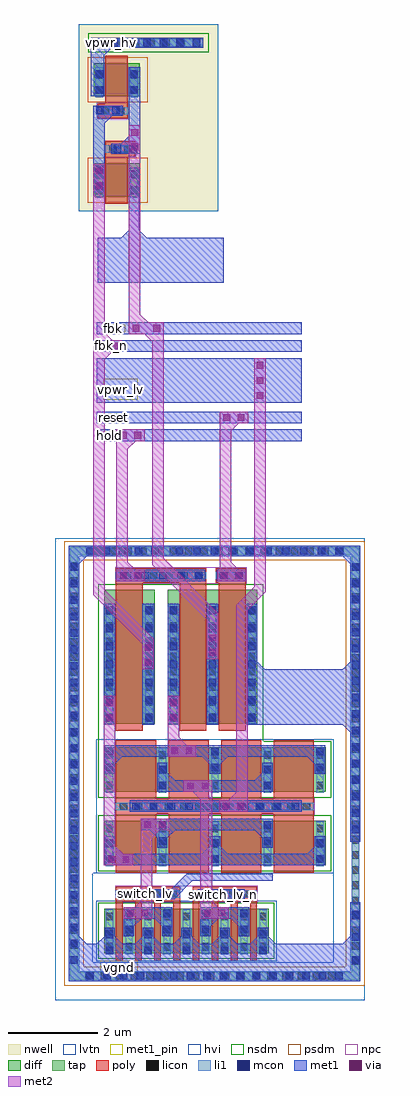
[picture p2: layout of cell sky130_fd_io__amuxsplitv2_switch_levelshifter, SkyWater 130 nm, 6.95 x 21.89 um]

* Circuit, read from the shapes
.subckt sky130_fd_io__amuxsplitv2_switch_levelshifter fbk fbk_n hold reset switch_lv switch_lv_n vgnd vpwr_hv vpwr_lv
XM1 n1 switch_lv vgnd vgnd sky130_fd_pr__nfet_01v8_lvt w=1 l=0.15 m=4
XM2 n1 vpwr_lv n2 vgnd sky130_fd_pr__nfet_05v0_nvt w=1 l=0.9 m=4
XM3 n3 vpwr_lv n4 vgnd sky130_fd_pr__nfet_05v0_nvt w=1 l=0.9 m=4
XM4 fbk_n hold n2 vgnd sky130_fd_pr__nfet_05v0_nvt w=3 l=0.6
XM5 fbk hold n4 vgnd sky130_fd_pr__nfet_05v0_nvt w=3 l=0.6
XM6 n3 switch_lv_n vgnd vgnd sky130_fd_pr__nfet_01v8_lvt w=1 l=0.15 m=4
XM7 vgnd reset fbk vgnd sky130_fd_pr__nfet_05v0_nvt w=3 l=0.6
XM8 n5 fbk fbk_n vpwr_hv sky130_fd_pr__pfet_g5v0d10v5 w=0.75 l=0.5
XM9 fbk fbk_n vpwr_hv vpwr_hv sky130_fd_pr__pfet_g5v0d10v5 w=0.75 l=0.5
.ends

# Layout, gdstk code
from math import pi, radians
import gdstk
lib = gdstk.Library(unit=1e-6, precision=1e-09)
def R(c, l, rs):  # rectangles x0, y0, x1, y1
    for r in rs: c.add(gdstk.rectangle(r[:2], r[2:], *l))
def A(c, l, x, y, w, h, nx, ny, dx, dy):  # array of equal rectangles
    R(c, l, [(x+i*dx, y+j*dy, x+i*dx+w, y+j*dy+h) for i in range(nx) for j in range(ny)])
def P(c, l, *ps):  # polygons
    for p in ps: c.add(gdstk.Polygon(p, *l))
nwell = (64, 20)
diff = (65, 20)
tap = (65, 44)
poly = (66, 20)
licon = (66, 44)
li1 = (67, 20)
mcon = (67, 44)
met1_pin = (68, 16)
met1 = (68, 20)
via = (68, 44)
met2 = (69, 20)
hvi = (75, 20)
nsdm = (93, 44)
psdm = (94, 20)
npc = (95, 20)
lvtn = (125, 44)

dfl1sd_cdns_559591418081 = lib.new_cell('DFL1sd_CDNS_5595914180819')
R(dfl1sd_cdns_559591418081, diff, [(0,0,0.265,3)])
A(dfl1sd_cdns_559591418081, licon, 0.055, 0.06, 0.17, 0.17, 1, 8, 0, 0.34)
R(dfl1sd_cdns_559591418081, li1, [(0.055,-0.02,0.225,2.69)])
R(dfl1sd_cdns_559591418081, nsdm, [(-0.13,-0.13,0.395,3.13)])

nfet_cdns_5595914180818 = lib.new_cell('nfet_CDNS_5595914180818')
R(nfet_cdns_5595914180818, diff, [(-0.25,0,0,3), (0,0,0.6,3), (0.6,0,0.85,3)])
R(nfet_cdns_5595914180818, poly, [(0,-0.16,0.6,3.16), (0,-0.16,0.6,0), (0,3,0.6,3.16)])
R(nfet_cdns_5595914180818, li1, [(-0.225,-0.02,-0.055,2.69), (0.655,-0.02,0.825,2.69)])
R(nfet_cdns_5595914180818, hvi, [(-0.445,-0.18,1.045,3.18)])
R(nfet_cdns_5595914180818, nsdm, [(-0.25,-0.13,0.85,3.13)])
nfet_cdns_5595914180818.add(gdstk.Reference(dfl1sd_cdns_559591418081, (0.6,0)))
nfet_cdns_5595914180818.add(gdstk.Reference(dfl1sd_cdns_559591418081, (0,0), rotation=pi, x_reflection=True))
nfet_cdns_5595914180818.add(gdstk.Label('D', (0.74,1.335), layer=83, texttype=44))
nfet_cdns_5595914180818.add(gdstk.Label('S', (-0.14,1.335), layer=83, texttype=44))

c_dfl1sd_cdns_559591418081 = lib.new_cell('DFL1sd_CDNS_5595914180815')
R(c_dfl1sd_cdns_559591418081, diff, [(0,0,0.265,1)])
A(c_dfl1sd_cdns_559591418081, licon, 0.055, 0.06, 0.17, 0.17, 1, 3, 0, 0.34)
R(c_dfl1sd_cdns_559591418081, li1, [(0.055,-0.02,0.225,0.99)])
R(c_dfl1sd_cdns_559591418081, nsdm, [(-0.13,-0.13,0.395,1.13)])

dfl1sd2_cdns_55959141808 = lib.new_cell('DFL1sd2_CDNS_5595914180816')
R(dfl1sd2_cdns_55959141808, diff, [(0,0,0.28,1)])
A(dfl1sd2_cdns_55959141808, licon, 0.055, 0.06, 0.17, 0.17, 1, 3, 0, 0.34)
R(dfl1sd2_cdns_55959141808, li1, [(0.055,-0.02,0.225,0.99)])
R(dfl1sd2_cdns_55959141808, nsdm, [(-0.13,-0.13,0.41,1.13)])

nfet_cdns_5595914180820 = lib.new_cell('nfet_CDNS_5595914180820')
A(nfet_cdns_5595914180820, diff, 0, 0, 0.9, 1, 4, 1, 1.18, 0)
R(nfet_cdns_5595914180820, diff, [(-0.25,0,0,1), (4.44,0,4.69,1)])
A(nfet_cdns_5595914180820, poly, 0, -0.16, 0.9, 1.32, 4, 1, 1.18, 0)
A(nfet_cdns_5595914180820, poly, 0, -0.16, 0.9, 0.16, 4, 2, 1.18, 1.16)
A(nfet_cdns_5595914180820, li1, -0.225, -0.02, 0.17, 1.01, 5, 1, 1.18, 0)
R(nfet_cdns_5595914180820, hvi, [(-0.445,-0.18,4.885,1.18)])
A(nfet_cdns_5595914180820, nsdm, -0.25, -0.13, 1.15, 1.26, 3, 1, 1.18, 0)
R(nfet_cdns_5595914180820, nsdm, [(3.29,-0.13,4.69,1.13)])
R(nfet_cdns_5595914180820, lvtn, [(-0.445,-0.18,4.885,1.18)])
nfet_cdns_5595914180820.add(gdstk.Reference(c_dfl1sd_cdns_559591418081, (4.44,0)))
nfet_cdns_5595914180820.add(gdstk.Reference(c_dfl1sd_cdns_559591418081, (0,0), rotation=pi, x_reflection=True))
nfet_cdns_5595914180820.add(gdstk.Reference(dfl1sd2_cdns_55959141808, (3.26,0)))
nfet_cdns_5595914180820.add(gdstk.Reference(dfl1sd2_cdns_55959141808, (2.08,0)))
nfet_cdns_5595914180820.add(gdstk.Reference(dfl1sd2_cdns_55959141808, (0.9,0)))
nfet_cdns_5595914180820.add(gdstk.Label('S', (4.58,0.485), layer=83, texttype=44))
nfet_cdns_5595914180820.add(gdstk.Label('D', (3.4,0.485), layer=83, texttype=44))
nfet_cdns_5595914180820.add(gdstk.Label('S', (2.22,0.485), layer=83, texttype=44))
nfet_cdns_5595914180820.add(gdstk.Label('D', (1.04,0.485), layer=83, texttype=44))
nfet_cdns_5595914180820.add(gdstk.Label('S', (-0.14,0.485), layer=83, texttype=44))

nfet_cdns_5595914180821 = lib.new_cell('nfet_CDNS_5595914180821')
A(nfet_cdns_5595914180821, diff, 0, 0, 0.15, 1, 4, 1, 0.43, 0)
R(nfet_cdns_5595914180821, diff, [(-0.25,0,0,1), (1.44,0,1.69,1)])
A(nfet_cdns_5595914180821, poly, 0, -0.16, 0.15, 1.32, 4, 1, 0.43, 0)
A(nfet_cdns_5595914180821, poly, 0, -0.16, 0.15, 0.16, 4, 2, 0.43, 1.16)
A(nfet_cdns_5595914180821, li1, -0.225, -0.02, 0.17, 1.01, 5, 1, 0.43, 0)
A(nfet_cdns_5595914180821, nsdm, -0.25, -0.13, 0.4, 1.26, 3, 1, 0.43, 0)
R(nfet_cdns_5595914180821, nsdm, [(1.04,-0.13,1.69,1.13)])
R(nfet_cdns_5595914180821, lvtn, [(-0.445,-0.18,1.885,1.18)])
nfet_cdns_5595914180821.add(gdstk.Reference(c_dfl1sd_cdns_559591418081, (1.44,0)))
nfet_cdns_5595914180821.add(gdstk.Reference(c_dfl1sd_cdns_559591418081, (0,0), rotation=pi, x_reflection=True))
nfet_cdns_5595914180821.add(gdstk.Reference(dfl1sd2_cdns_55959141808, (1.01,0)))
nfet_cdns_5595914180821.add(gdstk.Reference(dfl1sd2_cdns_55959141808, (0.58,0)))
nfet_cdns_5595914180821.add(gdstk.Reference(dfl1sd2_cdns_55959141808, (0.15,0)))
nfet_cdns_5595914180821.add(gdstk.Label('S', (1.58,0.485), layer=83, texttype=44))
nfet_cdns_5595914180821.add(gdstk.Label('D', (1.15,0.485), layer=83, texttype=44))
nfet_cdns_5595914180821.add(gdstk.Label('S', (0.72,0.485), layer=83, texttype=44))
nfet_cdns_5595914180821.add(gdstk.Label('D', (0.29,0.485), layer=83, texttype=44))
nfet_cdns_5595914180821.add(gdstk.Label('S', (-0.14,0.485), layer=83, texttype=44))

dfl1sd_cdns_559591418082 = lib.new_cell('DFL1sd_CDNS_5595914180823')
R(dfl1sd_cdns_559591418082, nwell, [(-0.18,-0.18,0.445,0.93)])
R(dfl1sd_cdns_559591418082, diff, [(0,0,0.265,0.75)])
R(dfl1sd_cdns_559591418082, licon, [(0.055,0.06,0.225,0.23), (0.055,0.4,0.225,0.57)])
R(dfl1sd_cdns_559591418082, li1, [(0.055,-0.02,0.225,0.65)])
R(dfl1sd_cdns_559591418082, psdm, [(-0.13,-0.13,0.395,0.88)])

pfet_cdns_5595914180822 = lib.new_cell('pfet_CDNS_5595914180822')
R(pfet_cdns_5595914180822, nwell, [(-0.595,-0.33,1.095,1.08), (-0.445,-0.18,0.945,0.93)])
R(pfet_cdns_5595914180822, diff, [(-0.25,0,0,0.75), (0,0,0.5,0.75), (0.5,0,0.75,0.75)])
R(pfet_cdns_5595914180822, poly, [(0,-0.16,0.5,0.91), (0,-0.16,0.5,0), (0,0.75,0.5,0.91)])
R(pfet_cdns_5595914180822, li1, [(-0.225,-0.02,-0.055,0.65), (0.555,-0.02,0.725,0.65)])
R(pfet_cdns_5595914180822, hvi, [(-0.595,-0.33,1.095,1.08)])
R(pfet_cdns_5595914180822, psdm, [(-0.25,-0.13,0.75,0.88)])
pfet_cdns_5595914180822.add(gdstk.Reference(dfl1sd_cdns_559591418082, (0.5,0)))
pfet_cdns_5595914180822.add(gdstk.Reference(dfl1sd_cdns_559591418082, (0,0), rotation=pi, x_reflection=True))
pfet_cdns_5595914180822.add(gdstk.Label('D', (0.64,0.315), layer=83, texttype=44))
pfet_cdns_5595914180822.add(gdstk.Label('S', (-0.14,0.315), layer=83, texttype=44))

sky130_fd_io__amuxsplitv = lib.new_cell('sky130_fd_io__amuxsplitv2_switch_levelshifter')
R(sky130_fd_io__amuxsplitv, nwell, [(0.185,17.44,3.305,21.645), (0.185,20.805,3.305,21.645)])
R(sky130_fd_io__amuxsplitv, tap, [(0.52,21.14,2.97,21.31)])
P(sky130_fd_io__amuxsplitv, tap, [(-0.01,0.5),(-0.01,0.2),(6.47,0.2),(6.47,9.91),(-0.01,9.91),(-0.01,0.5),(0.16,0.5),(0.16,9.74),(6.3,9.74),(6.3,0.37),(0.16,0.37),(0.16,0.5)])
R(sky130_fd_io__amuxsplitv, poly, [(1.015,1.96,2.455,2.29), (2.735,1.96,4.175,2.29), (1.015,3.93,5.455,4.26), (1.015,9.11,3.045,9.44), (3.255,9.11,3.925,9.44), (0.78,18.68,1.45,19.01), (0.61,19.53,1.28,19.86)])
A(sky130_fd_io__amuxsplitv, licon, 0.33, 0.2, 0.17, 0.17, 17, 1, 0.34, 0)
A(sky130_fd_io__amuxsplitv, licon, 6.3, 0.54, 0.17, 0.17, 1, 27, 0, 0.34)
A(sky130_fd_io__amuxsplitv, licon, -0.01, 0.9, 0.17, 0.17, 1, 26, 0, 0.34)
A(sky130_fd_io__amuxsplitv, licon, 1.095, 2.04, 0.17, 0.17, 4, 1, 0.37, 0)
A(sky130_fd_io__amuxsplitv, licon, 2.815, 2.04, 0.17, 0.17, 4, 1, 0.37, 0)
A(sky130_fd_io__amuxsplitv, licon, 1.095, 4.01, 0.17, 0.17, 7, 1, 0.34, 0)
A(sky130_fd_io__amuxsplitv, licon, 3.48, 4.01, 0.17, 0.17, 6, 1, 0.345, 0)
A(sky130_fd_io__amuxsplitv, licon, 1.095, 9.19, 0.17, 0.17, 6, 1, 0.34, 0)
A(sky130_fd_io__amuxsplitv, licon, 0.52, 9.74, 0.17, 0.17, 17, 1, 0.34, 0)
A(sky130_fd_io__amuxsplitv, licon, 0.69, 21.14, 0.17, 0.17, 6, 1, 0.34, 0)
R(sky130_fd_io__amuxsplitv, licon, [(3.335,9.19,3.505,9.36), (3.675,9.19,3.845,9.36), (0.86,18.76,1.03,18.93), (1.2,18.76,1.37,18.93), (0.69,19.61,0.86,19.78), (1.03,19.61,1.2,19.78)])
A(sky130_fd_io__amuxsplitv, li1, 0.79, 0.78, 0.17, 0.53, 5, 1, 0.86, 0)
A(sky130_fd_io__amuxsplitv, li1, 1.22, 1.245, 0.17, 0.53, 4, 1, 0.86, 0)
A(sky130_fd_io__amuxsplitv, li1, 0.79, 2.83, 0.17, 0.53, 3, 2, 2.36, 2.05)
R(sky130_fd_io__amuxsplitv, li1, [(1.015,2.04,2.455,2.21), (1.26,2.04,2.19,2.21), (2.735,2.04,4.175,2.21), (2.91,2.04,3.84,2.21), (1.97,3.23,2.14,3.76), (4.33,3.23,4.5,3.76), (1.015,4.01,5.455,4.18), (1.38,4.01,5.125,4.18), (1.97,4.48,2.14,5.01), (4.33,4.48,4.5,5.01), (0.79,5.99,0.96,8.58), (1.67,5.99,1.84,8.58), (2.22,5.99,2.39,8.58), (3.1,5.99,3.27,8.58), (3.1,5.99,3.27,8.58), (3.98,5.99,4.15,8.58), (1.015,9.19,3.045,9.36), (1.19,9.19,2.955,9.36), (3.255,9.19,3.925,9.36), (3.335,9.19,3.865,9.36), (1.335,17.83,1.505,18.36), (0.555,17.93,0.725,18.46), (0.78,18.76,1.45,18.93), (0.965,18.76,1.495,18.93), (0.61,19.61,1.28,19.78), (0.575,19.615,1.105,19.785), (0.555,20.08,0.725,20.61), (1.335,20.08,1.505,20.61), (0.52,21.14,2.97,21.31), (0.52,21.14,2.91,21.31)])
P(sky130_fd_io__amuxsplitv, li1, [(2.165,9.94),(-0.04,9.94),(-0.04,0.17),(6.5,0.17),(6.5,1.945),(6.27,1.945),(6.27,0.4),(0.19,0.4),(0.19,9.71),(2.165,9.71)],
  [(-0.01,0.5),(-0.01,0.2),(6.47,0.2),(6.47,9.91),(-0.01,9.91),(-0.01,0.5),(0.16,0.5),(0.16,9.74),(6.3,9.74),(6.3,0.37),(0.16,0.37),(0.16,0.5)],
  [(6.5,3.3),(6.5,9.94),(2.165,9.94),(2.165,9.71),(6.27,9.71),(6.27,3.3)])
A(sky130_fd_io__amuxsplitv, mcon, 0.35, 0.2, 0.17, 0.17, 7, 1, 0.375, 0)
A(sky130_fd_io__amuxsplitv, mcon, 2.97, 0.2, 0.17, 0.17, 9, 1, 0.37, 0)
A(sky130_fd_io__amuxsplitv, mcon, -0.01, 0.565, 0.17, 0.17, 1, 14, 0, 0.365)
A(sky130_fd_io__amuxsplitv, mcon, 0.79, 0.78, 0.17, 0.17, 5, 2, 0.86, 0.36)
A(sky130_fd_io__amuxsplitv, mcon, 1.22, 1.245, 0.17, 0.17, 4, 2, 0.86, 0.36)
A(sky130_fd_io__amuxsplitv, mcon, 1.26, 2.04, 0.17, 0.17, 3, 1, 0.38, 0)
A(sky130_fd_io__amuxsplitv, mcon, 2.91, 2.04, 0.17, 0.17, 3, 1, 0.38, 0)
A(sky130_fd_io__amuxsplitv, mcon, 0.79, 2.83, 0.17, 0.17, 3, 2, 2.36, 0.36)
A(sky130_fd_io__amuxsplitv, mcon, 6.3, 3.49, 0.17, 0.17, 1, 10, 0, 0.37)
A(sky130_fd_io__amuxsplitv, mcon, 1.38, 4.01, 0.17, 0.17, 6, 1, 0.395, 0)
A(sky130_fd_io__amuxsplitv, mcon, 3.755, 4.01, 0.17, 0.17, 4, 1, 0.4, 0)
A(sky130_fd_io__amuxsplitv, mcon, 0.79, 4.88, 0.17, 0.17, 3, 2, 2.36, 0.36)
A(sky130_fd_io__amuxsplitv, mcon, -0.01, 5.68, 0.17, 0.17, 1, 11, 0, 0.37)
A(sky130_fd_io__amuxsplitv, mcon, 0.79, 5.99, 0.17, 0.17, 1, 3, 0, 0.4)
A(sky130_fd_io__amuxsplitv, mcon, 1.67, 5.99, 0.17, 0.17, 1, 3, 0, 0.4)
A(sky130_fd_io__amuxsplitv, mcon, 2.22, 5.99, 0.17, 0.17, 1, 3, 0, 0.4)
A(sky130_fd_io__amuxsplitv, mcon, 3.98, 5.99, 0.17, 0.17, 1, 3, 0, 0.4)
A(sky130_fd_io__amuxsplitv, mcon, 6.3, 7.185, 0.17, 0.17, 1, 7, 0, 0.365)
A(sky130_fd_io__amuxsplitv, mcon, 0.79, 7.195, 0.17, 0.17, 1, 4, 0, 0.405)
A(sky130_fd_io__amuxsplitv, mcon, 1.67, 7.195, 0.17, 0.17, 1, 4, 0, 0.405)
A(sky130_fd_io__amuxsplitv, mcon, 2.22, 7.195, 0.17, 0.17, 1, 4, 0, 0.405)
A(sky130_fd_io__amuxsplitv, mcon, 3.98, 7.195, 0.17, 0.17, 1, 4, 0, 0.405)
A(sky130_fd_io__amuxsplitv, mcon, 1.585, 9.19, 0.17, 0.17, 4, 1, 0.4, 0)
A(sky130_fd_io__amuxsplitv, mcon, 0.71, 9.74, 0.17, 0.17, 4, 1, 0.365, 0)
A(sky130_fd_io__amuxsplitv, mcon, 2.355, 9.74, 0.17, 0.17, 4, 1, 0.395, 0)
A(sky130_fd_io__amuxsplitv, mcon, 3.94, 9.74, 0.17, 0.17, 6, 1, 0.4, 0)
A(sky130_fd_io__amuxsplitv, mcon, 0.52, 21.14, 0.17, 0.17, 7, 1, 0.37, 0)
R(sky130_fd_io__amuxsplitv, mcon, [(6.3,0.56,6.47,0.73), (6.3,1.075,6.47,1.245), (6.3,1.585,6.47,1.755), (1.97,3.23,2.14,3.4), (4.33,3.23,4.5,3.4), (1.97,3.59,2.14,3.76), (4.33,3.59,4.5,3.76), (1.97,4.48,2.14,4.65), (4.33,4.48,4.5,4.65), (1.97,4.84,2.14,5.01), (4.33,4.84,4.5,5.01), (3.1,5.99,3.27,6.16), (3.1,5.99,3.27,6.16), (3.1,6.39,3.27,6.56), (3.1,6.39,3.27,6.56), (3.1,6.79,3.27,6.96), (3.1,6.79,3.27,6.96), (3.1,7.195,3.27,7.365), (3.1,7.195,3.27,7.365), (3.1,7.6,3.27,7.77), (3.1,7.6,3.27,7.77), (3.1,8.005,3.27,8.175), (3.1,8.005,3.27,8.175), (3.1,8.41,3.27,8.58), (3.1,8.41,3.27,8.58), (1.19,9.19,1.36,9.36), (3.335,9.19,3.505,9.36), (3.695,9.19,3.865,9.36), (0.35,9.74,0.52,9.91), (1.335,17.83,1.505,18), (0.555,17.93,0.725,18.1), (1.335,18.19,1.505,18.36), (0.555,18.29,0.725,18.46), (0.965,18.76,1.135,18.93), (1.325,18.76,1.495,18.93), (0.575,19.615,0.745,19.785), (0.935,19.615,1.105,19.785), (0.555,20.08,0.725,20.25), (1.335,20.08,1.505,20.25), (0.555,20.44,0.725,20.61), (1.335,20.44,1.505,20.61)])
R(sky130_fd_io__amuxsplitv, met1_pin, [(0.665,0.335,1.505,0.635), (3.185,2.06,3.66,2.185), (1.39,2.065,1.965,2.2), (0.715,12.32,1.035,12.505), (0.73,12.735,1.185,12.905), (0.73,13.22,1.505,13.69), (0.72,14.35,1.125,14.5), (0.72,14.735,1.22,14.9), (0.675,21.17,1.14,21.295)])
A(sky130_fd_io__amuxsplitv, met1, 0.76, 0.72, 0.23, 0.65, 5, 1, 0.86, 0)
A(sky130_fd_io__amuxsplitv, met1, 1.19, 1.185, 0.23, 0.65, 4, 1, 0.86, 0)
A(sky130_fd_io__amuxsplitv, met1, 0.76, 2.77, 0.23, 0.65, 3, 2, 2.36, 2.05)
R(sky130_fd_io__amuxsplitv, met1, [(0.17,0.17,6.3,1.01), (1.19,1.575,1.83,1.835), (2.91,1.575,3.55,1.835), (1.2,2.01,2.25,2.24), (2.85,2.01,3.9,2.24), (0.76,2.77,1.4,3.03), (1.94,3.17,2.17,3.82), (4.3,3.17,4.53,3.82), (1.57,3.56,2.21,3.82), (1.32,3.975,5.185,4.235), (3.33,3.975,3.97,4.235), (1.32,3.98,5.185,4.21), (1.94,4.42,2.17,5.07), (2.53,4.42,3.17,4.68), (4.3,4.42,4.53,5.07), (2.175,5.21,2.815,5.47), (0.745,5.93,1.005,6.57), (0.76,5.93,0.99,8.64), (1.605,5.93,1.87,8.64), (1.64,5.93,1.87,8.64), (2.175,5.93,2.435,6.57), (2.175,5.93,2.435,8.64), (2.19,5.93,2.42,8.64), (3.055,5.93,3.315,8.64), (3.07,5.93,3.3,8.64), (3.07,5.93,3.3,8.64), (3.95,5.93,4.18,8.64), (4.115,5.93,6.35,7.165), (0.745,6.47,1.005,8.64), (1.605,7.175,1.865,7.815), (3.055,7.39,3.315,8.03), (1.025,9.145,1.665,9.405), (1.205,9.145,3.015,9.405), (3.275,9.145,3.925,9.405), (3.285,9.145,3.925,9.405), (1.13,9.16,3.015,9.39), (3.275,9.16,3.925,9.39), (0.58,12.29,5.185,12.55), (1.025,12.29,1.665,12.55), (0.58,12.69,5.185,12.95), (3.34,12.69,3.98,12.95), (0.58,13.15,5.185,14.15), (4.12,13.15,4.38,14.15), (0.505,14.29,1.145,14.55), (0.505,14.29,5.185,14.55), (0.58,14.69,5.185,14.95), (1.305,14.69,2.09,14.95), (0.605,15.845,3.435,16.845), (1.305,16.485,1.535,17.81), (1.305,17.77,1.535,18.42), (0.505,17.865,0.765,18.505), (0.525,17.87,0.755,18.52), (0.905,18.73,1.555,18.96), (1.305,18.73,1.565,19.37), (0.515,19.585,1.165,19.815), (0.525,20.02,0.755,20.67), (1.305,20.02,1.535,20.67), (0.46,21.11,2.97,21.34)])
P(sky130_fd_io__amuxsplitv, met1, [(6.5,3.3),(6.5,9.94),(2.165,9.94),(2.165,9.71),(6.27,9.71),(6.27,3.3)],
  [(4.53,2.58),(2.6,2.58),(2.26,2.24),(1.2,2.24),(1.2,2.01),(2.32,2.01),(2.73,2.42),(4.53,2.42)],
  [(1.305,16.845),(1.305,17.015),(1.135,16.845)],
  [(1.535,16.845),(1.535,17.015),(1.705,16.845)],
  [(6.27,1.01),(6.27,1.18),(6.1,1.01)],
  [(4.2,1.01),(4.2,1.18),(4.03,1.01)],
  [(4.43,1.01),(4.43,1.18),(4.6,1.01)],
  [(3.34,1.01),(3.34,1.18),(3.17,1.01)],
  [(3.57,1.01),(3.57,1.18),(3.74,1.01)],
  [(2.48,1.01),(2.48,1.18),(2.31,1.01)],
  [(2.71,1.01),(2.71,1.18),(2.88,1.01)],
  [(1.85,1.01),(1.85,1.18),(2.02,1.01)],
  [(1.62,1.01),(1.62,1.18),(1.45,1.01)],
  [(0.99,1.01),(0.99,1.18),(1.16,1.01)],
  [(0.76,1.01),(0.76,1.18),(0.59,1.01)],
  [(0.19,1.01),(0.19,1.18),(0.36,1.01)],
  [(1.94,3.56),(1.94,3.39),(1.77,3.56)],
  [(6.27,5.93),(6.27,5.76),(6.1,5.93)],
  [(6.27,7.165),(6.27,7.335),(6.1,7.165)],
  [(4.18,7.165),(4.18,7.335),(4.35,7.165)],
  [(6.27,9.71),(6.27,9.54),(6.1,9.71)],
  [(0.19,9.71),(0.19,9.54),(0.36,9.71)],
  [(0.925,21.11),(0.755,21.11),(0.755,21.34),(0.455,21.34),(0.455,20.02),(0.755,20.02),(0.755,20.94)],
  [(4.385,4.68),(4.3,4.68),(4.3,4.85),(4.13,4.68),(2.34,4.68),(2.17,4.85),(2.17,4.68),(1.94,4.68),(1.94,4.42),(4.385,4.42)],
  [(0.935,19.585),(0.765,19.585),(0.765,19.815),(0.505,19.815),(0.505,18.055),(0.765,18.055),(0.765,19.415)],
  [(1.565,20.67),(1.305,20.67),(1.305,19.13),(1.135,18.96),(1.305,18.96),(1.305,18.73),(1.565,18.73)],
  [(3.795,1.835),(2.91,1.835),(2.91,1.575),(3.14,1.575),(3.14,1.405),(3.31,1.575),(3.6,1.575),(3.77,1.405),(3.77,1.575),(3.795,1.575)],
  [(2.075,1.835),(1.19,1.835),(1.19,1.575),(1.42,1.575),(1.42,1.405),(1.59,1.575),(1.88,1.575),(2.05,1.405),(2.05,1.575),(2.075,1.575)],
  [(4.385,3.82),(1.94,3.82),(1.94,3.56),(2.17,3.56),(2.17,3.39),(2.34,3.56),(4.13,3.56),(4.3,3.39),(4.3,3.56),(4.385,3.56)],
  [(5.535,3.03),(5.48,3.03),(5.48,3.2),(5.31,3.03),(3.52,3.03),(3.35,3.2),(3.35,3.03),(3.12,3.03),(3.12,3.2),(2.95,3.03),(1.16,3.03),(0.99,3.2),(0.99,3.03),(0.76,3.03),(0.76,2.77),(5.535,2.77)],
  [(5.535,5.47),(0.76,5.47),(0.76,5.21),(0.99,5.21),(0.99,5.04),(1.16,5.21),(2.95,5.21),(3.12,5.04),(3.12,5.21),(3.35,5.21),(3.35,5.04),(3.52,5.21),(5.31,5.21),(5.48,5.04),(5.48,5.21),(5.535,5.21)],
  [(2.165,9.94),(-0.04,9.94),(-0.04,0.17),(6.5,0.17),(6.5,1.945),(6.27,1.945),(6.27,0.4),(0.19,0.4),(0.19,9.71),(2.165,9.71)])
A(sky130_fd_io__amuxsplitv, via, 4.175, 13.235, 0.15, 0.15, 1, 3, 0, 0.34)
R(sky130_fd_io__amuxsplitv, via, [(1.275,1.63,1.425,1.78), (1.595,1.63,1.745,1.78), (2.995,1.63,3.145,1.78), (3.315,1.63,3.465,1.78), (0.845,2.825,0.995,2.975), (1.165,2.825,1.315,2.975), (1.655,3.615,1.805,3.765), (1.975,3.615,2.125,3.765), (3.415,4.03,3.565,4.18), (3.735,4.03,3.885,4.18), (2.615,4.475,2.765,4.625), (2.935,4.475,3.085,4.625), (2.26,5.265,2.41,5.415), (2.58,5.265,2.73,5.415), (0.8,6.015,0.95,6.165), (2.23,6.015,2.38,6.165), (0.8,6.335,0.95,6.485), (2.23,6.335,2.38,6.485), (1.66,7.26,1.81,7.41), (3.11,7.475,3.26,7.625), (1.66,7.58,1.81,7.73), (3.11,7.795,3.26,7.945), (1.11,9.2,1.26,9.35), (1.43,9.2,1.58,9.35), (3.37,9.2,3.52,9.35), (3.69,9.2,3.84,9.35), (1.11,12.345,1.26,12.495), (1.43,12.345,1.58,12.495), (3.425,12.745,3.575,12.895), (3.745,12.745,3.895,12.895), (0.59,14.345,0.74,14.495), (0.91,14.345,1.06,14.495), (1.39,14.745,1.54,14.895), (1.855,14.745,2.005,14.895), (0.56,17.95,0.71,18.1), (0.56,18.27,0.71,18.42), (1.36,18.815,1.51,18.965), (1.36,19.135,1.51,19.285)])
R(sky130_fd_io__amuxsplitv, met2, [(1.19,1.575,1.83,1.835), (2.91,1.575,3.55,1.835), (0.745,2.77,1.005,5.96), (0.76,2.77,1.4,3.03), (1.57,3.56,2.21,3.82), (3.33,3.975,3.97,4.235), (3.71,4.22,3.97,8.35), (2.53,4.42,3.17,4.68), (2.175,5.21,2.815,5.47), (2.175,5.21,2.435,5.96), (0.745,5.93,1.005,6.57), (2.175,5.93,2.435,6.57), (1.605,7.175,1.865,7.815), (3.055,7.39,3.315,8.03), (3.055,8.005,3.315,8.14), (1.025,9.145,1.285,12.55), (1.025,9.145,1.665,9.405), (3.285,9.145,3.925,9.405), (3.34,9.395,3.6,12.95), (1.025,12.29,1.665,12.55), (3.34,12.69,3.98,12.95), (4.12,13.15,4.38,14.15), (0.505,14.29,1.145,14.55), (1.305,14.69,2.09,14.95), (1.305,14.69,1.565,19.15), (0.505,17.865,0.765,18.505), (1.305,18.73,1.565,19.37)])
P(sky130_fd_io__amuxsplitv, met2, [(3.97,8.35),(3.97,8.495),(4.38,8.905),(4.38,14.01),(4.12,14.01),(4.12,9.015),(3.71,8.605),(3.71,8.35)],
  [(1.005,3.03),(1.005,3.2),(1.175,3.03)],
  [(1.83,3.56),(1.83,3.39),(2,3.56)],
  [(2.91,4.42),(2.91,4.25),(2.74,4.42)],
  [(3.71,4.235),(3.71,4.405),(3.54,4.235)],
  [(2.435,5.47),(2.435,5.64),(2.605,5.47)],
  [(3.6,9.405),(3.6,9.575),(3.77,9.405)],
  [(1.285,9.405),(1.285,9.575),(1.455,9.405)],
  [(3.34,9.405),(3.34,9.46),(3.285,9.405)],
  [(1.285,12.29),(1.285,12.12),(1.455,12.29)],
  [(3.6,12.69),(3.6,12.52),(3.77,12.69)],
  [(0.765,14.29),(0.765,14.12),(0.935,14.29)],
  [(0.765,14.55),(0.765,14.72),(0.935,14.55)],
  [(1.83,14.69),(1.83,14.52),(1.66,14.69)],
  [(1.565,14.95),(1.565,15.12),(1.735,14.95)],
  [(1.865,7.855),(0.765,8.955),(0.765,18.14),(0.505,18.14),(0.505,8.845),(1.605,7.745),(1.605,7.43),(1.865,7.43)],
  [(3.34,1.8),(3.17,1.97),(3.17,4.68),(2.91,4.68),(2.91,1.78),(3.17,1.78),(3.17,1.8)],
  [(1.83,3.77),(1.57,3.77),(1.57,1.97),(1.4,1.8),(1.57,1.8),(1.57,1.78),(1.83,1.78)],
  [(3.315,8.43),(2.09,9.655),(2.09,14.95),(1.83,14.95),(1.83,9.51),(3.055,8.285),(3.055,8.14),(3.315,8.14)])
R(sky130_fd_io__amuxsplitv, hvi, [(0.185,17.44,3.305,21.645)])
P(sky130_fd_io__amuxsplitv, hvi, [(6.6,10.11),(5.885,10.11),(5.885,0.6),(0.5,0.6),(0.5,2.59),(5.885,2.59),(5.885,10.11),(-0.35,10.11),(-0.35,-0.25),(6.6,-0.25)])
R(sky130_fd_io__amuxsplitv, nsdm, [(0.62,5.55,4.32,5.825), (1.995,5.82,2.065,9.08), (0.39,21.01,3.1,21.44)])
R(sky130_fd_io__amuxsplitv, psdm, [(1.655,17.64,1.73,18.65), (1.655,19.89,1.725,20.9)])
P(sky130_fd_io__amuxsplitv, psdm, [(-0.14,0.5),(-0.14,0.07),(6.6,0.07),(6.6,10.04),(-0.14,10.04),(-0.14,0.5),(0.29,0.5),(0.29,9.61),(6.17,9.61),(6.17,0.5)])
R(sky130_fd_io__amuxsplitv, npc, [(0.995,1.94,2.475,2.31), (2.405,1.94,2.74,2.31), (2.715,1.94,4.195,2.31), (0.995,3.91,5.475,4.28), (0.995,9.09,3.065,9.46), (3.05,9.09,3.25,9.46), (3.235,9.09,3.945,9.46), (0.76,18.66,1.47,19.03), (0.59,19.51,1.3,19.88)])
R(sky130_fd_io__amuxsplitv, lvtn, [(0.57,3.915,5.9,4.255)])
sky130_fd_io__amuxsplitv.add(gdstk.Reference(nfet_cdns_5595914180818, (1.015,5.95)))
sky130_fd_io__amuxsplitv.add(gdstk.Reference(nfet_cdns_5595914180818, (2.445,5.95)))
sky130_fd_io__amuxsplitv.add(gdstk.Reference(nfet_cdns_5595914180818, (3.325,5.95)))
sky130_fd_io__amuxsplitv.add(gdstk.Reference(nfet_cdns_5595914180820, (5.455,2.77), rotation=pi, x_reflection=True))
sky130_fd_io__amuxsplitv.add(gdstk.Reference(nfet_cdns_5595914180820, (5.455,4.42), rotation=pi, x_reflection=True))
sky130_fd_io__amuxsplitv.add(gdstk.Reference(nfet_cdns_5595914180821, (4.175,0.8), rotation=pi, x_reflection=True))
sky130_fd_io__amuxsplitv.add(gdstk.Reference(nfet_cdns_5595914180821, (2.455,0.8), rotation=pi, x_reflection=True))
sky130_fd_io__amuxsplitv.add(gdstk.Reference(pfet_cdns_5595914180822, (0.78,17.77)))
sky130_fd_io__amuxsplitv.add(gdstk.Reference(pfet_cdns_5595914180822, (0.78,20.02)))
sky130_fd_io__amuxsplitv.add(gdstk.Label('vpwr_lv', (1.12,13.455), layer=68, texttype=5))
sky130_fd_io__amuxsplitv.add(gdstk.Label('vpwr_hv', (0.91,21.235), layer=68, texttype=5))
sky130_fd_io__amuxsplitv.add(gdstk.Label('fbk_n', (0.925,14.425), layer=68, texttype=5))
sky130_fd_io__amuxsplitv.add(gdstk.Label('fbk', (0.97,14.82), layer=68, texttype=5))
sky130_fd_io__amuxsplitv.add(gdstk.Label('reset', (0.96,12.82), layer=68, texttype=5))
sky130_fd_io__amuxsplitv.add(gdstk.Label('hold', (0.875,12.415), layer=68, texttype=5))
sky130_fd_io__amuxsplitv.add(gdstk.Label('switch_lv_n', (3.425,2.125), layer=68, texttype=5))
sky130_fd_io__amuxsplitv.add(gdstk.Label('switch_lv', (1.675,2.135), layer=68, texttype=5))
sky130_fd_io__amuxsplitv.add(gdstk.Label('vgnd', (1.085,0.485), layer=68, texttype=5))

lib.write_gds('sky130_fd_io__amuxsplitv2_switch_levelshifter.gds')
